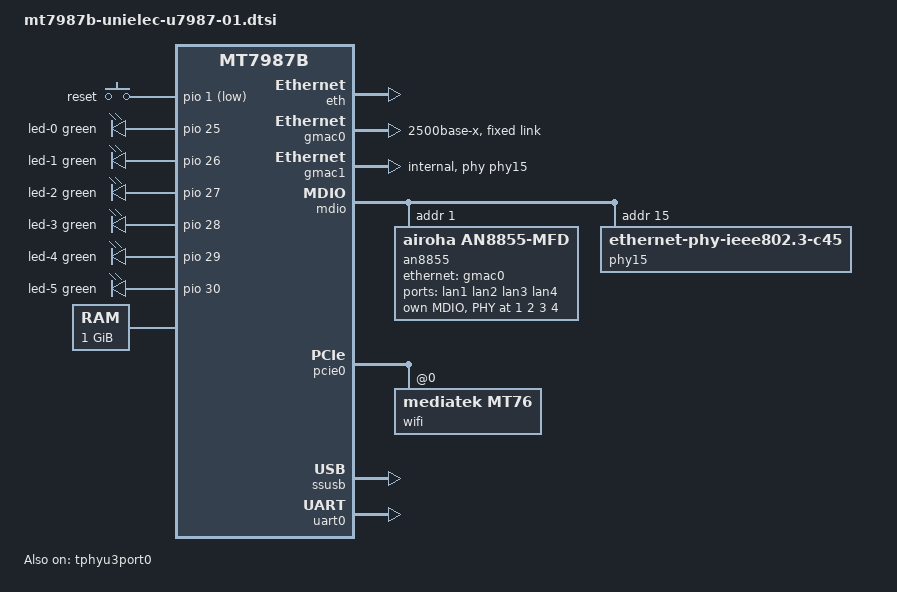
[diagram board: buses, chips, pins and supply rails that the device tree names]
// SPDX-License-Identifier: (GPL-2.0 OR MIT)

/*
 * Copyright (C) 2026 Ivan Huang <ivanhuang@unielecinc.com>
 */

#include "mt7987b.dtsi"
#include <dt-bindings/gpio/gpio.h>
#include <dt-bindings/input/input.h>
#include <dt-bindings/leds/common.h>

/ {
	/delete-node/ memory;

	aliases {
		label-mac-device = &gmac0;
		serial0 = &uart0;
	};

	chosen {
		stdout-path = "serial0:115200n8";
	};

	gpio-keys {
		compatible = "gpio-keys";

		button-reset {
			debounce-interval = <10>;
			gpios = <&pio 1 GPIO_ACTIVE_LOW>;
			label = "reset";
			linux,code = <KEY_RESTART>;
		};
	};

	leds {
		compatible = "gpio-leds";

		led-0 {
			color = <LED_COLOR_ID_GREEN>;
			function = LED_FUNCTION_LAN;
			function-enumerator = <1>;
			gpios = <&pio 25 GPIO_ACTIVE_HIGH>;
		};

		led-1 {
			color = <LED_COLOR_ID_GREEN>;
			function = LED_FUNCTION_LAN;
			function-enumerator = <2>;
			gpios = <&pio 26 GPIO_ACTIVE_HIGH>;
		};

		led-2 {
			color = <LED_COLOR_ID_GREEN>;
			function = LED_FUNCTION_LAN;
			function-enumerator = <3>;
			gpios = <&pio 27 GPIO_ACTIVE_HIGH>;
		};

		led-3 {
			color = <LED_COLOR_ID_GREEN>;
			function = LED_FUNCTION_LAN;
			function-enumerator = <4>;
			gpios = <&pio 28 GPIO_ACTIVE_HIGH>;
		};

		led-4 {
			color = <LED_COLOR_ID_GREEN>;
			function = LED_FUNCTION_WLAN_2GHZ;
			gpios = <&pio 29 GPIO_ACTIVE_HIGH>;
		};

		led-5 {
			color = <LED_COLOR_ID_GREEN>;
			function = LED_FUNCTION_WLAN_5GHZ;
			gpios = <&pio 30 GPIO_ACTIVE_HIGH>;
		};
	};

	memory@40000000 {
		device_type = "memory";
		reg = <0 0x40000000 0 0x40000000>;
	};
};

&eth {
	status = "okay";
};

&gmac0 {
	phy-mode = "2500base-x";

	status = "okay";

	fixed-link {
		full-duplex;
		pause;
		speed = <2500>;
	};
};

&gmac1 {
	phy-handle = <&phy15>;
	phy-mode = "internal";

	status = "okay";
};

&mdio {
	an8855: mfd@1 {
		compatible = "airoha,an8855-mfd";
		reg = <1>;
	};

	phy15: ethernet-phy@f {
		compatible = "ethernet-phy-ieee802.3-c45";
		reg = <15>;
		pinctrl-0 = <&i2p5gbe_led0_pins>;
		pinctrl-names = "i2p5gbe-led";
	};
};

&an8855 {
	efuse {
		compatible = "airoha,an8855-efuse";
		#nvmem-cell-cells = <0>;

		nvmem-layout {
			compatible = "fixed-layout";
			#address-cells = <1>;
			#size-cells = <1>;

			shift_sel_port0_tx_a: shift-sel-port0-tx-a@c {
				reg = <0xc 0x4>;
			};

			shift_sel_port0_tx_b: shift-sel-port0-tx-b@10 {
				reg = <0x10 0x4>;
			};

			shift_sel_port0_tx_c: shift-sel-port0-tx-c@14 {
				reg = <0x14 0x4>;
			};

			shift_sel_port0_tx_d: shift-sel-port0-tx-d@18 {
				reg = <0x18 0x4>;
			};

			shift_sel_port1_tx_a: shift-sel-port1-tx-a@1c {
				reg = <0x1c 0x4>;
			};

			shift_sel_port1_tx_b: shift-sel-port1-tx-b@20 {
				reg = <0x20 0x4>;
			};

			shift_sel_port1_tx_c: shift-sel-port1-tx-c@24 {
				reg = <0x24 0x4>;
			};

			shift_sel_port1_tx_d: shift-sel-port1-tx-d@28 {
				reg = <0x28 0x4>;
			};

			shift_sel_port2_tx_a: shift-sel-port2-tx-a@2c {
				reg = <0x2c 0x4>;
			};

			shift_sel_port2_tx_b: shift-sel-port2-tx-b@30 {
				reg = <0x30 0x4>;
			};

			shift_sel_port2_tx_c: shift-sel-port2-tx-c@34 {
				reg = <0x34 0x4>;
			};

			shift_sel_port2_tx_d: shift-sel-port2-tx-d@38 {
				reg = <0x38 0x4>;
			};

			shift_sel_port3_tx_a: shift-sel-port3-tx-a@4c {
				reg = <0x4c 0x4>;
			};

			shift_sel_port3_tx_b: shift-sel-port3-tx-b@50 {
				reg = <0x50 0x4>;
			};

			shift_sel_port3_tx_c: shift-sel-port3-tx-c@54 {
				reg = <0x54 0x4>;
			};

			shift_sel_port3_tx_d: shift-sel-port3-tx-d@58 {
				reg = <0x58 0x4>;
			};
		};
	};

	ethernet-switch {
		compatible = "airoha,an8855-switch";
		reset-gpios = <&pio 42 GPIO_ACTIVE_HIGH>;
		airoha,ext-surge;

		ports {
			#address-cells = <1>;
			#size-cells = <0>;

			port@0 {
				reg = <0>;
				label = "lan1";
				phy-handle = <&internal_phy1>;
				phy-mode = "internal";
			};

			port@1 {
				reg = <1>;
				label = "lan2";
				phy-handle = <&internal_phy2>;
				phy-mode = "internal";
			};

			port@2 {
				reg = <2>;
				label = "lan3";
				phy-handle = <&internal_phy3>;
				phy-mode = "internal";
			};

			port@3 {
				reg = <3>;
				label = "lan4";
				phy-handle = <&internal_phy4>;
				phy-mode = "internal";
			};

			port@5 {
				reg = <5>;
				ethernet = <&gmac0>;
				phy-mode = "2500base-x";

				fixed-link {
					full-duplex;
					pause;
					speed = <2500>;
				};
			};
		};
	};

	mdio {
		compatible = "airoha,an8855-mdio";
		#address-cells = <1>;
		#size-cells = <0>;

		internal_phy1: ethernet-phy@1 {
			reg = <1>;

			nvmem-cell-names = "tx_a", "tx_b", "tx_c", "tx_d";
			nvmem-cells = <&shift_sel_port0_tx_a>,
					<&shift_sel_port0_tx_b>,
					<&shift_sel_port0_tx_c>,
					<&shift_sel_port0_tx_d>;
		};

		internal_phy2: ethernet-phy@2 {
			reg = <2>;

			nvmem-cell-names = "tx_a", "tx_b", "tx_c", "tx_d";
			nvmem-cells = <&shift_sel_port1_tx_a>,
					<&shift_sel_port1_tx_b>,
					<&shift_sel_port1_tx_c>,
					<&shift_sel_port1_tx_d>;
		};

		internal_phy3: ethernet-phy@3 {
			reg = <3>;

			nvmem-cell-names = "tx_a", "tx_b", "tx_c", "tx_d";
			nvmem-cells = <&shift_sel_port2_tx_a>,
					<&shift_sel_port2_tx_b>,
					<&shift_sel_port2_tx_c>,
					<&shift_sel_port2_tx_d>;
		};

		internal_phy4: ethernet-phy@4 {
			reg = <4>;

			nvmem-cell-names = "tx_a", "tx_b", "tx_c", "tx_d";
			nvmem-cells = <&shift_sel_port3_tx_a>,
					<&shift_sel_port3_tx_b>,
					<&shift_sel_port3_tx_c>,
					<&shift_sel_port3_tx_d>;
		};
	};
};

&pcie0 {
	pinctrl-0 = <&pcie0_pins>;
	pinctrl-names = "default";

	status = "okay";

	pcie@0,0 {
		reg = <0x0000 0 0 0 0>;
		#address-cells = <3>;
		#size-cells = <2>;

		wifi: wifi@0,0 {
			compatible = "mediatek,mt76";
			reg = <0x0000 0 0 0 0>;
		};
	};
};

&ssusb {
	status = "okay";
};

&tphyu3port0 {
	status = "okay";
};

&uart0 {
	pinctrl-0 = <&uart0_pins>;
	pinctrl-names = "default";

	status = "okay";
};
